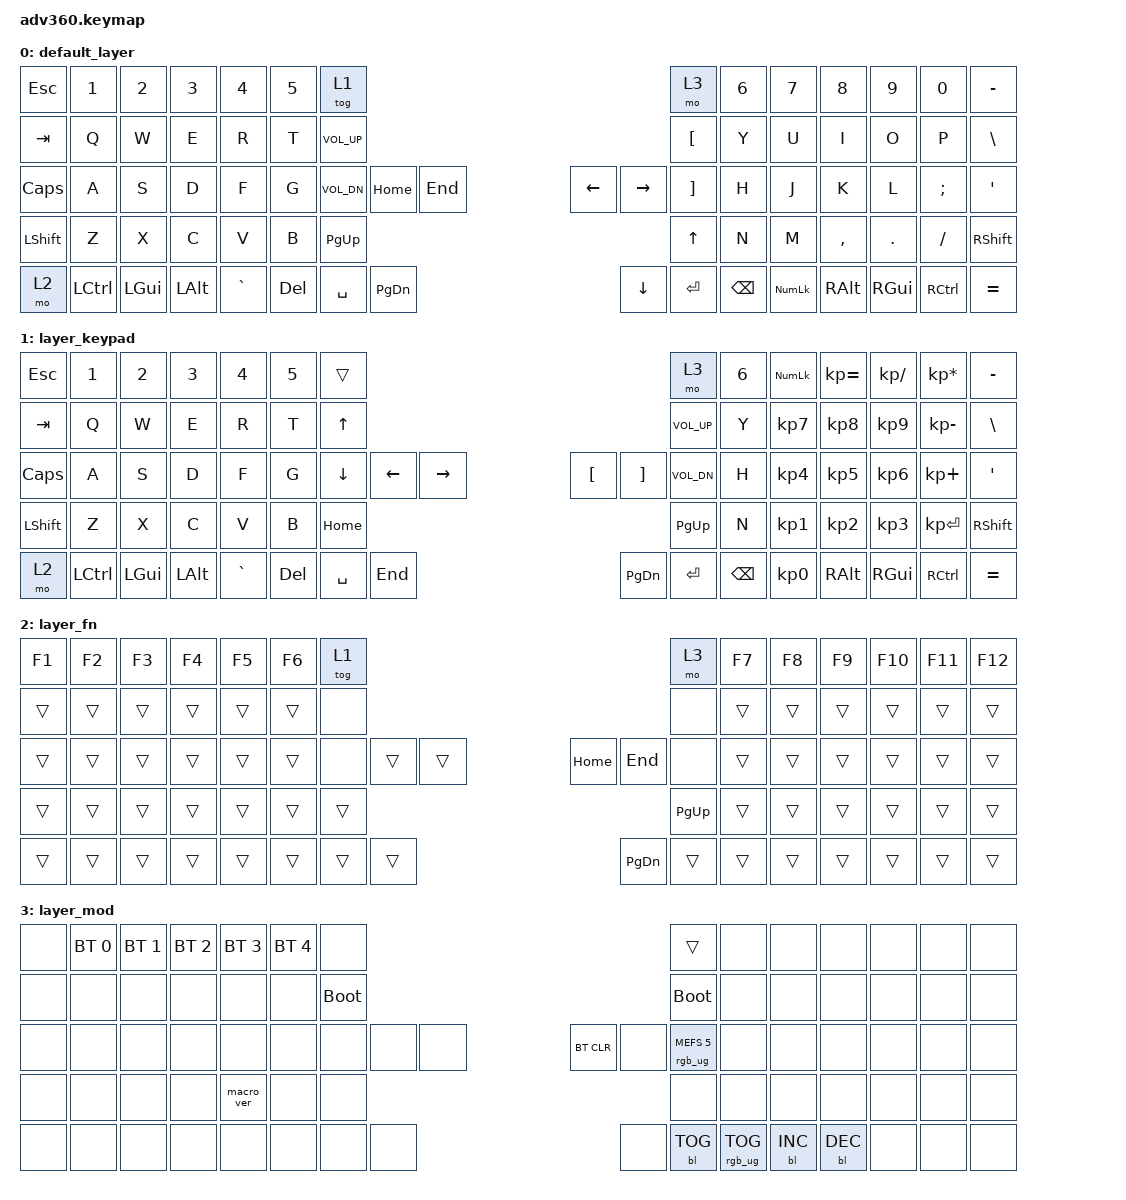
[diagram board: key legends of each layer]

/*
 * Copyright (c) 2020 The ZMK Contributors
 *
 * SPDX-License-Identifier: MIT
 */


/* THIS FILE WAS GENERATED!
 *
 * This file was generated automatically. You may or may not want to
 * edit it directly.
 */

#include <behaviors.dtsi>
#include <dt-bindings/zmk/keys.h>
#include <dt-bindings/zmk/bt.h>
#include <dt-bindings/zmk/rgb.h>
#include <dt-bindings/zmk/backlight.h>

/ {
  behaviors {
    #include "macros.dtsi"
    #include "version.dtsi"

    hm: homerow_mods {
        compatible = "zmk,behavior-hold-tap";
        label = "HOMEROW_MODS";
        #binding-cells = <2>;
        tapping-term-ms = <200>;
        quick_tap_ms = <175>;
        flavor = "tap-preferred";
        bindings = <&kp>, <&kp>;
    };
  };

    keymap {
        compatible = "zmk,keymap";


        default_layer {
            bindings = <
   &kp ESC     &kp N1    &kp N2    &kp N3     &kp N4  &kp N5                  &tog 1                                                                     &mo 3  &kp N6          &kp N7     &kp N8    &kp N9     &kp N0  &kp MINUS
   &kp TAB      &kp Q     &kp W     &kp E      &kp R   &kp T            &kp C_VOL_UP                                                                  &kp LBKT   &kp Y           &kp U      &kp I     &kp O      &kp P   &kp BSLH
  &kp CAPS      &kp A     &kp S     &kp D      &kp F   &kp G            &kp C_VOL_DN   &kp HOME    &kp END                  &kp LEFT  &kp RIGHT       &kp RBKT   &kp H           &kp J      &kp K     &kp L   &kp SEMI    &kp SQT
 &kp LSHFT      &kp Z     &kp X     &kp C      &kp V   &kp B                                     &kp PG_UP                    &kp UP                             &kp N           &kp M  &kp COMMA   &kp DOT   &kp FSLH  &kp RSHFT
     &mo 2  &kp LCTRL  &kp LGUI  &kp LALT  &kp GRAVE                         &kp DEL  &kp SPACE  &kp PG_DN                  &kp DOWN  &kp ENTER  &kp BACKSPACE          &kp KP_NUMLOCK   &kp RALT  &kp RGUI  &kp RCTRL  &kp EQUAL
            >;
        };

        layer_keypad {
            bindings = <
   &kp ESC     &kp N1    &kp N2    &kp N3     &kp N4  &kp N5              &trans                                                                      &mo 3  &kp N6  &kp KP_NUM  &kp KP_EQUAL  &kp KP_DIVIDE  &kp KP_MULTIPLY  &kp MINUS
   &kp TAB      &kp Q     &kp W     &kp E      &kp R   &kp T              &kp UP                                                               &kp K_VOL_UP   &kp Y   &kp KP_N7     &kp KP_N8      &kp KP_N9     &kp KP_MINUS   &kp BSLH
  &kp CAPS      &kp A     &kp S     &kp D      &kp F   &kp G            &kp DOWN   &kp LEFT  &kp RIGHT                   &kp LBKT   &kp RBKT   &kp K_VOL_DN   &kp H   &kp KP_N4     &kp KP_N5      &kp KP_N6      &kp KP_PLUS    &kp SQT
 &kp LSHFT      &kp Z     &kp X     &kp C      &kp V   &kp B                                  &kp HOME                  &kp PG_UP                             &kp N   &kp KP_N1     &kp KP_N2      &kp KP_N3     &kp KP_ENTER  &kp RSHFT
     &mo 2  &kp LCTRL  &kp LGUI  &kp LALT  &kp GRAVE                     &kp DEL  &kp SPACE    &kp END                  &kp PG_DN  &kp ENTER  &kp BACKSPACE           &kp KP_N0      &kp RALT       &kp RGUI        &kp RCTRL  &kp EQUAL
            >;
        };

        layer_fn {
            bindings = <
 &kp F1  &kp F2  &kp F3  &kp F4  &kp F5  &kp F6            &tog 1                                                         &mo 3  &kp F7  &kp F8  &kp F9  &kp F10  &kp F11  &kp F12
 &trans  &trans  &trans  &trans  &trans  &trans             &none                                                         &none  &trans  &trans  &trans   &trans   &trans   &trans
 &trans  &trans  &trans  &trans  &trans  &trans             &none  &trans  &trans                     &kp HOME  &kp END   &none  &trans  &trans  &trans   &trans   &trans   &trans
 &trans  &trans  &trans  &trans  &trans  &trans                            &trans                  &kp PAGE_UP                   &trans  &trans  &trans   &trans   &trans   &trans
 &trans  &trans  &trans  &trans  &trans                    &trans  &trans  &trans                    &kp PG_DN   &trans  &trans          &trans  &trans   &trans   &trans   &trans
            >;
        };

        layer_mod {
            bindings = <
  &none  &bt BT_SEL 0  &bt BT_SEL 1  &bt BT_SEL 2  &bt BT_SEL 3  &bt BT_SEL 4                  &none                                                                          &trans   &none       &none       &none   &none   &none   &none
  &none         &none         &none         &none         &none         &none            &bootloader                                                                     &bootloader   &none       &none       &none   &none   &none   &none
  &none         &none         &none         &none         &none         &none                  &none   &none   &none                  &bt BT_CLR       &none  &rgb_ug RGB_MEFS_CMD 5   &none       &none       &none   &none   &none   &none
  &none         &none         &none         &none    &macro_ver         &none                                  &none                       &none                                       &none       &none       &none   &none   &none   &none
  &none         &none         &none         &none         &none                                &none   &none   &none                       &none  &bl BL_TOG         &rgb_ug RGB_TOG          &bl BL_INC  &bl BL_DEC   &none   &none   &none
            >;
        };

    };
};
